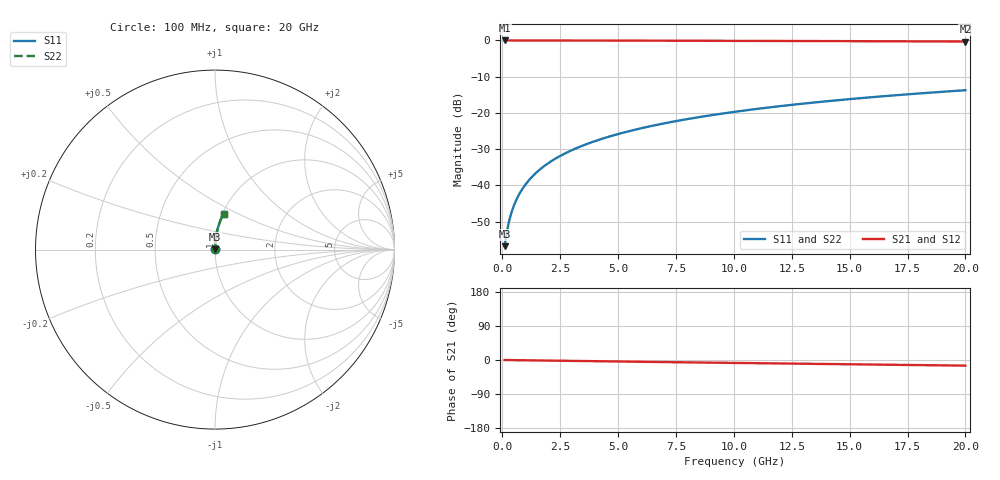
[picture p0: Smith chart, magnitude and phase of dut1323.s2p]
! Touchstone file exported from HFSS 2024.1.0
!  File:  C:/UserFiles/LocalFiles/RDL_TSV_Batchsim/temp_RDL_top_1323_1780365129.aedt
!  Generated:  09:54:29 AM Jun  2, 2026
!  Design:  RDL_top
!  Project:  temp_RDL_top_1323_1780365129
!  Setup:  Setup1
!  Solution:  Sweep
! Variables:
!  dtsv = 10.80580581um
!  hbump = 3um
!  htsv = 54.93um
!  ldown = 100um
!  lrdl = 136.14um
!  p = 40
!  p1 = 58.42um
!  rhole = 1um
!  t = 450um
!  tdown = 3.915915916um
!  trdl = 4.35um
!  wdown = 15.38538539um
!  wrdl = 12.78um
# GHz S MA R 50.000000
! Terminal data exported
! Port[1] = Box2_T1
! Port[2] = Box2_T2
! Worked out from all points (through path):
!   200 points, 100 MHz to 20 GHz, reference 50 ohm
!   highest |S21| = -0.01 dB at 100 MHz (marker M1); lowest = -0.3 dB at 20 GHz (marker M2)
!   group delay of S21, straight-line fit = 2.05 ps
!   lowest |S11| = -56.8 dB at 100 MHz (marker M3), VSWR 1.00, Z = 50.1 + j0.104 ohm
!   |S11| at or under -10 dB: start of sweep to end of sweep
!   |S22| runs from -56.8 to -13.8 dB; largest |S21 - S12| = 5.1e-15
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0.1  0.001444 46.2  0.999 -0.1  0.999 -0.1  0.001444 46.2
! Gamma 0 0 0 0
! Port Impedance 50 0 50 0
0.2  0.002313 63.9  0.999 -0.2  0.999 -0.2  0.002313 63.9
0.3  0.003271 71.4  0.9989 -0.2  0.9989 -0.2  0.003271 71.4
0.4  0.004253 75.5  0.9989 -0.3  0.9989 -0.3  0.004253 75.5
0.5  0.005243 78.0  0.9989 -0.4  0.9989 -0.4  0.005243 78.0
0.7  0.007236 81.0  0.9988 -0.6  0.9988 -0.6  0.007236 81.0
0.8  0.008236 82.0  0.9988 -0.7  0.9988 -0.7  0.008236 82.0
1  0.01024 83.3  0.9987 -0.8  0.9987 -0.8  0.01024 83.3
1.2  0.01225 84.2  0.9986 -1.0  0.9986 -1.0  0.01225 84.2
1.4  0.01427 84.8  0.9985 -1.1  0.9985 -1.1  0.01427 84.8
1.7  0.0173 85.5  0.9984 -1.4  0.9984 -1.4  0.0173 85.5
2  0.02034 85.9  0.9982 -1.6  0.9982 -1.6  0.02034 85.9
2.7  0.02745 86.3  0.9976 -2.2  0.9976 -2.2  0.02745 86.3
3.5  0.03561 86.5  0.9968 -2.8  0.9968 -2.8  0.03561 86.5
4.2  0.04278 86.4  0.996 -3.4  0.996 -3.4  0.04278 86.4
5  0.05101 86.2  0.9949 -4.0  0.9949 -4.0  0.05101 86.2
6.8  0.06963 85.4  0.9923 -5.3  0.9923 -5.3  0.06963 85.4
8.3  0.08525 84.6  0.9898 -6.5  0.9898 -6.5  0.08524 84.6
10.1  0.104 83.5  0.9866 -7.8  0.9866 -7.8  0.104 83.5
13.4  0.1383 81.3  0.9803 -10.2  0.9803 -10.2  0.1383 81.3
16.7  0.1722 78.9  0.9733 -12.5  0.9733 -12.5  0.1722 78.9
20  0.2053 76.6  0.9656 -14.8  0.9656 -14.8  0.2053 76.5
